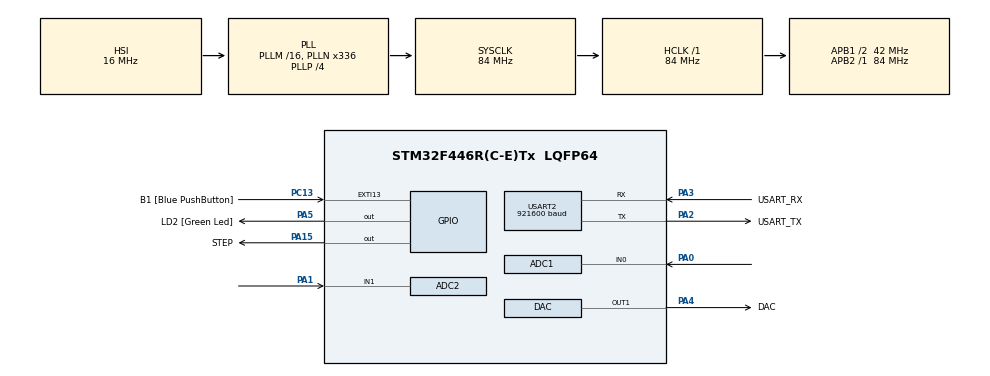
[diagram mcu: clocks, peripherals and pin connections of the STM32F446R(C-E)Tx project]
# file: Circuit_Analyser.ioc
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ADC1.Channel-0\#ChannelRegularConversion=ADC_CHANNEL_0
ADC1.ContinuousConvMode=DISABLE
ADC1.DMAContinuousRequests=ENABLE
ADC1.ExternalTrigConv=ADC_EXTERNALTRIGCONV_T2_TRGO
ADC1.NbrOfConversion=1
ADC1.NbrOfConversionFlag=1
ADC1.Rank-0\#ChannelRegularConversion=1
ADC1.SamplingTime-0\#ChannelRegularConversion=ADC_SAMPLETIME_480CYCLES
ADC1.master=1
ADC2.Channel-0\#ChannelRegularConversion=ADC_CHANNEL_1
ADC2.DMAContinuousRequests=ENABLE
ADC2.ExternalTrigConv=ADC_EXTERNALTRIGCONV_T8_TRGO
ADC2.NbrOfConversionFlag=1
ADC2.Rank-0\#ChannelRegularConversion=1
ADC2.SamplingTime-0\#ChannelRegularConversion=ADC_SAMPLETIME_144CYCLES
DAC.DAC_Trigger=DAC_TRIGGER_T8_TRGO
Dma.ADC1.0.Direction=DMA_PERIPH_TO_MEMORY
Dma.ADC1.0.FIFOMode=DMA_FIFOMODE_DISABLE
Dma.ADC1.0.Instance=DMA2_Stream0
Dma.ADC1.0.MemDataAlignment=DMA_MDATAALIGN_HALFWORD
Dma.ADC1.0.MemInc=DMA_MINC_ENABLE
Dma.ADC1.0.Mode=DMA_NORMAL
Dma.ADC1.0.PeriphDataAlignment=DMA_PDATAALIGN_HALFWORD
Dma.ADC1.0.PeriphInc=DMA_PINC_DISABLE
Dma.ADC1.0.Priority=DMA_PRIORITY_LOW
Dma.ADC2.2.Direction=DMA_PERIPH_TO_MEMORY
Dma.ADC2.2.FIFOMode=DMA_FIFOMODE_DISABLE
Dma.ADC2.2.Instance=DMA2_Stream2
Dma.ADC2.2.MemDataAlignment=DMA_MDATAALIGN_HALFWORD
Dma.ADC2.2.MemInc=DMA_MINC_ENABLE
Dma.ADC2.2.Mode=DMA_CIRCULAR
Dma.ADC2.2.PeriphDataAlignment=DMA_PDATAALIGN_HALFWORD
Dma.ADC2.2.PeriphInc=DMA_PINC_DISABLE
Dma.ADC2.2.Priority=DMA_PRIORITY_LOW
Dma.DAC1.1.Direction=DMA_MEMORY_TO_PERIPH
Dma.DAC1.1.FIFOMode=DMA_FIFOMODE_DISABLE
Dma.DAC1.1.Instance=DMA1_Stream5
Dma.DAC1.1.MemDataAlignment=DMA_MDATAALIGN_HALFWORD
Dma.DAC1.1.MemInc=DMA_MINC_ENABLE
Dma.DAC1.1.Mode=DMA_CIRCULAR
Dma.DAC1.1.PeriphDataAlignment=DMA_PDATAALIGN_HALFWORD
Dma.DAC1.1.PeriphInc=DMA_PINC_DISABLE
Dma.DAC1.1.Priority=DMA_PRIORITY_LOW
Dma.Request0=ADC1
Dma.Request1=DAC1
Dma.Request2=ADC2
Dma.Request3=USART2_TX
Dma.USART2_TX.3.Direction=DMA_MEMORY_TO_PERIPH
Dma.USART2_TX.3.FIFOMode=DMA_FIFOMODE_DISABLE
Dma.USART2_TX.3.Instance=DMA1_Stream6
Dma.USART2_TX.3.MemDataAlignment=DMA_MDATAALIGN_BYTE
Dma.USART2_TX.3.MemInc=DMA_MINC_ENABLE
Dma.USART2_TX.3.Mode=DMA_NORMAL
Dma.USART2_TX.3.PeriphDataAlignment=DMA_PDATAALIGN_BYTE
Dma.USART2_TX.3.PeriphInc=DMA_PINC_DISABLE
Dma.USART2_TX.3.Priority=DMA_PRIORITY_HIGH
Mcu.Family=STM32F4
Mcu.Name=STM32F446R(C-E)Tx
Mcu.Package=LQFP64
NVIC.DMA1_Stream5_IRQn=true\:3\:0\:true\:false\:true\:false\:true\:true
NVIC.DMA1_Stream6_IRQn=true\:1\:0\:true\:false\:true\:false\:true\:true
NVIC.DMA2_Stream0_IRQn=true\:2\:0\:true\:false\:true\:false\:true\:true
NVIC.DMA2_Stream2_IRQn=true\:2\:0\:true\:false\:true\:false\:true\:true
NVIC.PriorityGroup=NVIC_PRIORITYGROUP_2
NVIC.USART2_IRQn=true\:0\:0\:true\:false\:true\:true\:true\:true
PA0-WKUP.Signal=ADCx_IN0
PA1.Signal=ADCx_IN1
PA13.GPIO_Label=TMS
PA13.Mode=Serial_Wire
PA13.Signal=SYS_JTMS-SWDIO
PA14.GPIO_Label=TCK
PA14.Mode=Serial_Wire
PA14.Signal=SYS_JTCK-SWCLK
PA15.GPIO_Label=STEP
PA15.Signal=GPIO_Output
PA2.GPIO_Label=USART_TX
PA2.Mode=Asynchronous
PA2.Signal=USART2_TX
PA3.GPIO_Label=USART_RX
PA3.Mode=Asynchronous
PA3.Signal=USART2_RX
PA4.GPIO_Label=DAC
PA4.Signal=COMP_DAC1_group
PA5.GPIO_Label=LD2 [Green Led]
PA5.Signal=GPIO_Output
PB3.GPIO_Label=SWO
PB3.Signal=SYS_JTDO-SWO
PC13.GPIO_Label=B1 [Blue PushButton]
PC13.GPIO_ModeDefaultEXTI=GPIO_MODE_IT_FALLING
PC13.Signal=GPXTI13
PC14-OSC32_IN.Mode=LSE-External-Oscillator
PC14-OSC32_IN.Signal=RCC_OSC32_IN
PC15-OSC32_OUT.Mode=LSE-External-Oscillator
PC15-OSC32_OUT.Signal=RCC_OSC32_OUT
PH0-OSC_IN.Mode=HSE-External-Oscillator
PH0-OSC_IN.Signal=RCC_OSC_IN
PH1-OSC_OUT.Mode=HSE-External-Oscillator
PH1-OSC_OUT.Signal=RCC_OSC_OUT
ProjectManager.HeapSize=0x200
ProjectManager.StackSize=0x400
ProjectManager.TargetToolchain=STM32CubeIDE
RCC.48MHZClocksFreq_Value=84000000
RCC.AHBFreq_Value=84000000
RCC.APB1CLKDivider=RCC_HCLK_DIV2
RCC.APB1Freq_Value=42000000
RCC.APB1TimFreq_Value=84000000
RCC.APB2Freq_Value=84000000
RCC.APB2TimFreq_Value=84000000
RCC.CortexFreq_Value=84000000
RCC.FLatency-AdvancedSettings=FLASH_LATENCY_2
RCC.HCLKFreq_Value=84000000
RCC.HSE_VALUE=8000000
RCC.HSI_VALUE=16000000
RCC.PLLN=336
RCC.PLLP=RCC_PLLP_DIV4
RCC.SYSCLKFreq_VALUE=84000000
RCC.SYSCLKSource=RCC_SYSCLKSOURCE_PLLCLK
RCC.USBFreq_Value=168000000
RCC.VCOOutputFreq_Value=336000000
SH.ADCx_IN0.0=ADC1_IN0,IN0
SH.ADCx_IN1.0=ADC2_IN1,IN1
SH.COMP_DAC1_group.0=DAC_OUT1,DAC_OUT1
TIM2.Period=99
TIM2.Prescaler=83
TIM2.TIM_MasterOutputTrigger=TIM_TRGO_UPDATE
TIM8.Period=8399
TIM8.Prescaler=0
TIM8.TIM_MasterOutputTrigger=TIM_TRGO_UPDATE
USART2.BaudRate=921600
USART2.VirtualMode=VM_ASYNC
VP_TIM2_VS_ClockSourceINT.Mode=Internal
VP_TIM8_VS_ClockSourceINT.Mode=Internal
board=NUCLEO-F446RE

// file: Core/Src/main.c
/* USER CODE BEGIN Header */
/**
  ******************************************************************************
  * @file           : main.c
  * @brief          : Main program body
  ******************************************************************************
  * @attention
  *
  * Copyright (c) 2025 STMicroelectronics.
  * All rights reserved.
  *
  * This software is licensed under terms that can be found in the LICENSE file
  * in the root directory of this software component.
  * If no LICENSE file comes with this software, it is provided AS-IS.
  *
  ******************************************************************************
  */
/* USER CODE END Header */
#include "main.h"

/* USER CODE BEGIN Includes */
#include <math.h>
#include <stdio.h>
#include <string.h>
#include <stdlib.h>

/* USER CODE END Includes */

/* USER CODE BEGIN PTD */
typedef enum {
    MODE_IDLE,
    MODE_STEP_LAUNCH,
    MODE_WAVE_LAUNCH,
	MODE_STEP_RUNNING,
	MODE_FREQ_RUNNING
} SystemState_t;

/* USER CODE END PTD */

/* USER CODE BEGIN PD */
#define STEP_SAMPLES 2000
#define LUT_SAMPLES 1000
// Received command buffer size
#define RX_BUFFER_SIZE 32
// Binary protocol mode headers
#define BIN_HEADER_1 0xAA
#define BIN_HEADER_2 0xBB
#define BIN_MODE_STEP 0x01
#define BIN_MODE_FREQ 0x02

// Board timers frequency
#define MCU_TIMER_CLOCK_FREQ 84000000

// Transmission variables (ping-pong buffer)
#define CHUNK_SIZE (2*LUT_SAMPLES)
#define TOTAL_BUFFER_SIZE (2*CHUNK_SIZE)

/* USER CODE END PD */

ADC_HandleTypeDef hadc1;
ADC_HandleTypeDef hadc2;
DMA_HandleTypeDef hdma_adc1;
DMA_HandleTypeDef hdma_adc2;

DAC_HandleTypeDef hdac;
DMA_HandleTypeDef hdma_dac1;

TIM_HandleTypeDef htim2;
TIM_HandleTypeDef htim8;

UART_HandleTypeDef huart2;
DMA_HandleTypeDef hdma_usart2_tx;

/* USER CODE BEGIN PV */
volatile uint16_t ADC_buffer[TOTAL_BUFFER_SIZE];
uint16_t DAC_Sine[LUT_SAMPLES];
uint16_t DAC_Saw[LUT_SAMPLES];
uint16_t* current_waveform_ptr = DAC_Sine;

// System state initialization
SystemState_t current_state = MODE_IDLE;

// UART command reception variables
uint8_t rx_byte;              	// current byte
char rx_buffer[RX_BUFFER_SIZE]; // complete command buffer
uint8_t rx_index = 0;			// current byte index

// UART data transmission header
const uint8_t header_seq[2] = {BIN_HEADER_1, BIN_HEADER_2};

/* USER CODE END PV */

void SystemClock_Config(void);
static void MX_GPIO_Init(void);
static void MX_DMA_Init(void);
static void MX_USART2_UART_Init(void);
static void MX_ADC1_Init(void);
static void MX_TIM2_Init(void);
static void MX_DAC_Init(void);
static void MX_ADC2_Init(void);
static void MX_TIM8_Init(void);

int main(void)
{

  /* MCU Configuration--------------------------------------------------------*/

  /* Reset of all peripherals, Initializes the Flash interface and the Systick. */
  HAL_Init();

  /* Configure the system clock */
  SystemClock_Config();

  /* Initialize all configured peripherals */
  MX_GPIO_Init();
  MX_DMA_Init();
  MX_USART2_UART_Init();
  MX_ADC1_Init();
  MX_TIM2_Init();
  MX_DAC_Init();
  MX_ADC2_Init();
  MX_TIM8_Init();
  /* USER CODE BEGIN 2 */

  // Create one sine period LookUpTable
  for (int i = 0; i < LUT_SAMPLES; i++){
	  DAC_Sine[i] = (uint16_t)((4095.0f/2.0f) * (1.0f + sin(2.0f*M_PI*i/LUT_SAMPLES)));
  }

  // Create Sawtooth LookUpTable
  for(int i = 0; i < LUT_SAMPLES; i++){
	  DAC_Saw[i] = (uint16_t)(4095.0f/(LUT_SAMPLES-1)*i);
  }

  // Trigger connection with the user
  HAL_UART_Receive_IT(&huart2, &rx_byte, 1);

  /* USER CODE END 2 */

  /* Infinite loop */
  /* USER CODE BEGIN WHILE */
  while (1)
  {
	  // Start step response routine
	  if (current_state == MODE_STEP_LAUNCH)stepResponse();

	  // Start frequency analysis routine
	  if (current_state == MODE_WAVE_LAUNCH)waveformResponse();

    /* USER CODE END WHILE */

  }
}

void SystemClock_Config(void)
{
  RCC_OscInitTypeDef RCC_OscInitStruct = {0};
  RCC_ClkInitTypeDef RCC_ClkInitStruct = {0};

  /** Configure the main internal regulator output voltage
  */
  __HAL_RCC_PWR_CLK_ENABLE();
  __HAL_PWR_VOLTAGESCALING_CONFIG(PWR_REGULATOR_VOLTAGE_SCALE3);

  /** Initializes the RCC Oscillators according to the specified parameters
  * in the RCC_OscInitTypeDef structure.
  */
  RCC_OscInitStruct.OscillatorType = RCC_OSCILLATORTYPE_HSI;
  RCC_OscInitStruct.HSIState = RCC_HSI_ON;
  RCC_OscInitStruct.HSICalibrationValue = RCC_HSICALIBRATION_DEFAULT;
  RCC_OscInitStruct.PLL.PLLState = RCC_PLL_ON;
  RCC_OscInitStruct.PLL.PLLSource = RCC_PLLSOURCE_HSI;
  RCC_OscInitStruct.PLL.PLLM = 16;
  RCC_OscInitStruct.PLL.PLLN = 336;
  RCC_OscInitStruct.PLL.PLLP = RCC_PLLP_DIV4;
  RCC_OscInitStruct.PLL.PLLQ = 2;
  RCC_OscInitStruct.PLL.PLLR = 2;
  if (HAL_RCC_OscConfig(&RCC_OscInitStruct) != HAL_OK)
  {
    Error_Handler();
  }

  /** Initializes the CPU, AHB and APB buses clocks
  */
  RCC_ClkInitStruct.ClockType = RCC_CLOCKTYPE_HCLK|RCC_CLOCKTYPE_SYSCLK
                              |RCC_CLOCKTYPE_PCLK1|RCC_CLOCKTYPE_PCLK2;
  RCC_ClkInitStruct.SYSCLKSource = RCC_SYSCLKSOURCE_PLLCLK;
  RCC_ClkInitStruct.AHBCLKDivider = RCC_SYSCLK_DIV1;
  RCC_ClkInitStruct.APB1CLKDivider = RCC_HCLK_DIV2;
  RCC_ClkInitStruct.APB2CLKDivider = RCC_HCLK_DIV1;

  if (HAL_RCC_ClockConfig(&RCC_ClkInitStruct, FLASH_LATENCY_2) != HAL_OK)
  {
    Error_Handler();
  }
}

static void MX_ADC1_Init(void)
{

  ADC_ChannelConfTypeDef sConfig = {0};

  /** Configure the global features of the ADC (Clock, Resolution, Data Alignment and number of conversion)
  */
  hadc1.Instance = ADC1;
  hadc1.Init.ClockPrescaler = ADC_CLOCK_SYNC_PCLK_DIV4;
  hadc1.Init.Resolution = ADC_RESOLUTION_12B;
  hadc1.Init.ScanConvMode = DISABLE;
  hadc1.Init.ContinuousConvMode = DISABLE;
  hadc1.Init.DiscontinuousConvMode = DISABLE;
  hadc1.Init.ExternalTrigConvEdge = ADC_EXTERNALTRIGCONVEDGE_RISING;
  hadc1.Init.ExternalTrigConv = ADC_EXTERNALTRIGCONV_T2_TRGO;
  hadc1.Init.DataAlign = ADC_DATAALIGN_RIGHT;
  hadc1.Init.NbrOfConversion = 1;
  hadc1.Init.DMAContinuousRequests = ENABLE;
  hadc1.Init.EOCSelection = ADC_EOC_SINGLE_CONV;
  if (HAL_ADC_Init(&hadc1) != HAL_OK)
  {
    Error_Handler();
  }

  /** Configure for the selected ADC regular channel its corresponding rank in the sequencer and its sample time.
  */
  sConfig.Channel = ADC_CHANNEL_0;
  sConfig.Rank = 1;
  sConfig.SamplingTime = ADC_SAMPLETIME_480CYCLES;
  if (HAL_ADC_ConfigChannel(&hadc1, &sConfig) != HAL_OK)
  {
    Error_Handler();
  }

}

static void MX_ADC2_Init(void)
{

  ADC_ChannelConfTypeDef sConfig = {0};

  /** Configure the global features of the ADC (Clock, Resolution, Data Alignment and number of conversion)
  */
  hadc2.Instance = ADC2;
  hadc2.Init.ClockPrescaler = ADC_CLOCK_SYNC_PCLK_DIV4;
  hadc2.Init.Resolution = ADC_RESOLUTION_12B;
  hadc2.Init.ScanConvMode = DISABLE;
  hadc2.Init.ContinuousConvMode = DISABLE;
  hadc2.Init.DiscontinuousConvMode = DISABLE;
  hadc2.Init.ExternalTrigConvEdge = ADC_EXTERNALTRIGCONVEDGE_RISING;
  hadc2.Init.ExternalTrigConv = ADC_EXTERNALTRIGCONV_T8_TRGO;
  hadc2.Init.DataAlign = ADC_DATAALIGN_RIGHT;
  hadc2.Init.NbrOfConversion = 1;
  hadc2.Init.DMAContinuousRequests = ENABLE;
  hadc2.Init.EOCSelection = ADC_EOC_SINGLE_CONV;
  if (HAL_ADC_Init(&hadc2) != HAL_OK)
  {
    Error_Handler();
  }

  /** Configure for the selected ADC regular channel its corresponding rank in the sequencer and its sample time.
  */
  sConfig.Channel = ADC_CHANNEL_1;
  sConfig.Rank = 1;
  sConfig.SamplingTime = ADC_SAMPLETIME_144CYCLES;
  if (HAL_ADC_ConfigChannel(&hadc2, &sConfig) != HAL_OK)
  {
    Error_Handler();
  }

}

static void MX_DAC_Init(void)
{

  DAC_ChannelConfTypeDef sConfig = {0};

  /** DAC Initialization
  */
  hdac.Instance = DAC;
  if (HAL_DAC_Init(&hdac) != HAL_OK)
  {
    Error_Handler();
  }

  /** DAC channel OUT1 config
  */
  sConfig.DAC_Trigger = DAC_TRIGGER_T8_TRGO;
  sConfig.DAC_OutputBuffer = DAC_OUTPUTBUFFER_ENABLE;
  if (HAL_DAC_ConfigChannel(&hdac, &sConfig, DAC_CHANNEL_1) != HAL_OK)
  {
    Error_Handler();
  }

}

static void MX_TIM2_Init(void)
{

  TIM_ClockConfigTypeDef sClockSourceConfig = {0};
  TIM_MasterConfigTypeDef sMasterConfig = {0};

  htim2.Instance = TIM2;
  htim2.Init.Prescaler = 83;
  htim2.Init.CounterMode = TIM_COUNTERMODE_UP;
  htim2.Init.Period = 99;
  htim2.Init.ClockDivision = TIM_CLOCKDIVISION_DIV1;
  htim2.Init.AutoReloadPreload = TIM_AUTORELOAD_PRELOAD_DISABLE;
  if (HAL_TIM_Base_Init(&htim2) != HAL_OK)
  {
    Error_Handler();
  }
  sClockSourceConfig.ClockSource = TIM_CLOCKSOURCE_INTERNAL;
  if (HAL_TIM_ConfigClockSource(&htim2, &sClockSourceConfig) != HAL_OK)
  {
    Error_Handler();
  }
  sMasterConfig.MasterOutputTrigger = TIM_TRGO_UPDATE;
  sMasterConfig.MasterSlaveMode = TIM_MASTERSLAVEMODE_DISABLE;
  if (HAL_TIMEx_MasterConfigSynchronization(&htim2, &sMasterConfig) != HAL_OK)
  {
    Error_Handler();
  }

}

static void MX_TIM8_Init(void)
{

  TIM_ClockConfigTypeDef sClockSourceConfig = {0};
  TIM_MasterConfigTypeDef sMasterConfig = {0};

  htim8.Instance = TIM8;
  htim8.Init.Prescaler = 0;
  htim8.Init.CounterMode = TIM_COUNTERMODE_UP;
  htim8.Init.Period = 8399;
  htim8.Init.ClockDivision = TIM_CLOCKDIVISION_DIV1;
  htim8.Init.RepetitionCounter = 0;
  htim8.Init.AutoReloadPreload = TIM_AUTORELOAD_PRELOAD_DISABLE;
  if (HAL_TIM_Base_Init(&htim8) != HAL_OK)
  {
    Error_Handler();
  }
  sClockSourceConfig.ClockSource = TIM_CLOCKSOURCE_INTERNAL;
  if (HAL_TIM_ConfigClockSource(&htim8, &sClockSourceConfig) != HAL_OK)
  {
    Error_Handler();
  }
  sMasterConfig.MasterOutputTrigger = TIM_TRGO_UPDATE;
  sMasterConfig.MasterSlaveMode = TIM_MASTERSLAVEMODE_DISABLE;
  if (HAL_TIMEx_MasterConfigSynchronization(&htim8, &sMasterConfig) != HAL_OK)
  {
    Error_Handler();
  }

}

static void MX_USART2_UART_Init(void)
{

  huart2.Instance = USART2;
  huart2.Init.BaudRate = 921600;
  huart2.Init.WordLength = UART_WORDLENGTH_8B;
  huart2.Init.StopBits = UART_STOPBITS_1;
  huart2.Init.Parity = UART_PARITY_NONE;
  huart2.Init.Mode = UART_MODE_TX_RX;
  huart2.Init.HwFlowCtl = UART_HWCONTROL_NONE;
  huart2.Init.OverSampling = UART_OVERSAMPLING_16;
  if (HAL_UART_Init(&huart2) != HAL_OK)
  {
    Error_Handler();
  }

}

static void MX_DMA_Init(void)
{

  /* DMA controller clock enable */
  __HAL_RCC_DMA2_CLK_ENABLE();
  __HAL_RCC_DMA1_CLK_ENABLE();

  /* DMA interrupt init */
  /* DMA1_Stream5_IRQn interrupt configuration */
  HAL_NVIC_SetPriority(DMA1_Stream5_IRQn, 3, 0);
  HAL_NVIC_EnableIRQ(DMA1_Stream5_IRQn);
  /* DMA1_Stream6_IRQn interrupt configuration */
  HAL_NVIC_SetPriority(DMA1_Stream6_IRQn, 1, 0);
  HAL_NVIC_EnableIRQ(DMA1_Stream6_IRQn);
  /* DMA2_Stream0_IRQn interrupt configuration */
  HAL_NVIC_SetPriority(DMA2_Stream0_IRQn, 2, 0);
  HAL_NVIC_EnableIRQ(DMA2_Stream0_IRQn);
  /* DMA2_Stream2_IRQn interrupt configuration */
  HAL_NVIC_SetPriority(DMA2_Stream2_IRQn, 2, 0);
  HAL_NVIC_EnableIRQ(DMA2_Stream2_IRQn);

}

static void MX_GPIO_Init(void)
{
  GPIO_InitTypeDef GPIO_InitStruct = {0};

  /* GPIO Ports Clock Enable */
  __HAL_RCC_GPIOC_CLK_ENABLE();
  __HAL_RCC_GPIOH_CLK_ENABLE();
  __HAL_RCC_GPIOA_CLK_ENABLE();
  __HAL_RCC_GPIOB_CLK_ENABLE();

  /*Configure GPIO pin Output Level */
  HAL_GPIO_WritePin(GPIOA, LD2_Pin|STEP_Pin, GPIO_PIN_RESET);

  /*Configure GPIO pin : B1_Pin */
  GPIO_InitStruct.Pin = B1_Pin;
  GPIO_InitStruct.Mode = GPIO_MODE_IT_FALLING;
  GPIO_InitStruct.Pull = GPIO_NOPULL;
  HAL_GPIO_Init(B1_GPIO_Port, &GPIO_InitStruct);

  /*Configure GPIO pins : LD2_Pin STEP_Pin */
  GPIO_InitStruct.Pin = LD2_Pin|STEP_Pin;
  GPIO_InitStruct.Mode = GPIO_MODE_OUTPUT_PP;
  GPIO_InitStruct.Pull = GPIO_NOPULL;
  GPIO_InitStruct.Speed = GPIO_SPEED_FREQ_LOW;
  HAL_GPIO_Init(GPIOA, &GPIO_InitStruct);

}

/* USER CODE BEGIN 4 */

/*
 * The ADC conversion complete callback is called when the whole ADC buffer has
 * been filled with conversions.
 * For the step response, which is a one shot event, the code in this callback
 * reasonably stops the conversion and sends the whole buffer to the PC.
 * For the frequency response, this callback handles the 'PONG' part of the buffer
 * transmission, sending the second half of the ADC conversion buffer, without
 * interrupting the conversion, as we want to continuously measure voltage.
*/
void HAL_ADC_ConvCpltCallback(ADC_HandleTypeDef* hadc)
{
	if (current_state == MODE_IDLE) return;

    // Handles STEP, measured on ADC1
    if (hadc->Instance == ADC1)
    {
        // Stop conversion (One-Shot)
        HAL_TIM_Base_Stop(&htim2);
        HAL_ADC_Stop_DMA(&hadc1);

        // Send the measurements
        sendData(&ADC_buffer[0], STEP_SAMPLES, BIN_MODE_STEP);

        // Reset system state
        current_state = MODE_IDLE;
    }

    // Handles frequency response, measured on ADC2
    if (hadc->Instance == ADC2)
    {
        // Send only the second part of the buffer, without stopping the conversion
        sendData(&ADC_buffer[TOTAL_BUFFER_SIZE/2], TOTAL_BUFFER_SIZE/2, BIN_MODE_FREQ);
    }
}

/*
 * This callback handles the 'PING' part of the buffer transmission, sending the
 * first half of the ADC conversion buffer, without  interrupting the conversion,
 * as we want to continuously measure voltage.
 */
void HAL_ADC_ConvHalfCpltCallback(ADC_HandleTypeDef* hadc)
{
    if (hadc->Instance == ADC2)
    {
    	// Send only the first part of the buffer, without stopping the conversion
        sendData(&ADC_buffer[0], TOTAL_BUFFER_SIZE/2, BIN_MODE_FREQ);
    }
}

/*
 * This callback handles the command reception. Every received byte is stored in an array,
 * when a line terminator is received, the whole command, stored in the array is parsed and
 * the system state is updated accordingly
 */
void HAL_UART_RxCpltCallback(UART_HandleTypeDef *huart)
{
	if(huart->Instance == USART2){

		// Check if a line terminator has been sent, indicating a complete command
		if (rx_byte == '\n' || rx_byte == '\r'){
			// Close the string with the null terminator
			rx_buffer[rx_index] = '\0';

			if (rx_buffer[0] == 'S'){
				current_state = MODE_STEP_LAUNCH;
			}

			if (rx_buffer[0] == 'F'){
				// Extract the numerical values from the buffer, stopping at the terminator "\n"
				int freq_val = atoi(&rx_buffer[1]);
				changeFreq(freq_val);
				current_waveform_ptr = DAC_Sine;
				current_state = MODE_WAVE_LAUNCH;
			}
			if(rx_buffer[0] == 'T'){
				int freq_val = atoi(&rx_buffer[1]);
				changeFreq(freq_val);
				current_waveform_ptr = DAC_Saw;
				current_state = MODE_WAVE_LAUNCH;
			}

			if (rx_buffer[0] == 'A'){
				// Reset system state
				current_state = MODE_IDLE;

				// Stop everything
				HAL_TIM_Base_Stop(&htim2);
				HAL_TIM_Base_Stop(&htim8);
				HAL_ADC_Stop_DMA(&hadc1);
				setPinMode(STEP_GPIO_Port, STEP_Pin, GPIO_MODE_INPUT);
				HAL_ADC_Stop_DMA(&hadc2);
				HAL_DAC_Stop_DMA(&hdac, DAC_CHANNEL_1);
				setPinMode(DAC_GPIO_Port, DAC_Pin, GPIO_MODE_INPUT);

			}
			rx_index = 0;
		}
		else{
			// Buffer overflow protection
			if (rx_index < RX_BUFFER_SIZE){
				rx_buffer[rx_index] = rx_byte;
				rx_index++;
			}
		}
		HAL_UART_Receive_IT(&huart2, &rx_byte, 1);
	}
}

void stepResponse(void)
{
	// Update state
	current_state = MODE_STEP_RUNNING;

	// Configure the DAC pin to analog input to avoid short circuits
	setPinMode(DAC_GPIO_Port, DAC_Pin, GPIO_MODE_INPUT);

	// Configure the step pin to digital output in order to produce the step signal
	setPinMode(STEP_GPIO_Port, STEP_Pin, GPIO_MODE_OUTPUT_PP);

	// Wait to ensure the capacitor is fully discharged
	HAL_GPIO_WritePin(GPIOA, GPIO_PIN_15, GPIO_PIN_RESET);
	HAL_Delay(500);

	// Start DMA ADC conversion, still waiting for the timer trigger
	HAL_ADC_Start_DMA(&hadc1, (uint32_t*)ADC_buffer, STEP_SAMPLES);

	// Start the timer that triggers the ADC conversion
	HAL_TIM_Base_Start(&htim2);

	// Send a voltage step to the circuit
	HAL_GPIO_WritePin(GPIOA, GPIO_PIN_15, GPIO_PIN_SET);
}

void waveformResponse(void)
{
	// Update state
	current_state = MODE_FREQ_RUNNING;

	// Configure the step pin to analog input to avoid short circuits
	setPinMode(STEP_GPIO_Port, STEP_Pin, GPIO_MODE_INPUT);

	// Configure the DAC pin to analog output in order to produce the sine signal
	setPinMode(DAC_GPIO_Port, DAC_Pin, GPIO_MODE_ANALOG);

	// Start DMA DAC, still waiting for the timer trigger
	HAL_DAC_Start_DMA(&hdac, DAC_CHANNEL_1, (uint32_t*) current_waveform_ptr, LUT_SAMPLES, DAC_ALIGN_12B_R);

	// Start DMA ADC conversion, still waiting for the timer trigger
	HAL_ADC_Start_DMA(&hadc2, (uint32_t*)ADC_buffer, TOTAL_BUFFER_SIZE);

	// Start the timer that triggers the ADC and DAC
	HAL_TIM_Base_Start(&htim8);
}

void sendData(volatile uint16_t* buffer, uint16_t buffer_length, uint8_t mode)
{
    // Check if the UART is idle, otherwise skip
    if (huart2.gState != HAL_UART_STATE_READY) return;

    // Send chunk header + mode header
    HAL_UART_Transmit(&huart2, (uint8_t*)header_seq, 2, 1);
    HAL_UART_Transmit(&huart2, &mode, 1, 1);

    // Send ADC data through DMA
    HAL_UART_Transmit_DMA(&huart2, (uint8_t*)buffer, buffer_length * 2);
}

/*
 *  Wrapper function used to switch pins configuration mode
 */
void setPinMode(GPIO_TypeDef* GPIOx, uint16_t GPIO_Pin, uint32_t Mode)
{
    GPIO_InitTypeDef GPIO_InitStruct = {0};

    GPIO_InitStruct.Pin = GPIO_Pin;
    GPIO_InitStruct.Mode = Mode;
    GPIO_InitStruct.Pull = GPIO_NOPULL;
    GPIO_InitStruct.Speed = GPIO_SPEED_FREQ_LOW;

    HAL_GPIO_Init(GPIOx, &GPIO_InitStruct);
}

/*
 * Wrapper function used to change waveforms
 */
void changeFreq(uint16_t sine_freq)
{
	// Avoid too high, null or negative frequencies
	if (sine_freq > 2 && sine_freq <= 200){

		uint16_t new_ARR = (uint16_t) ((MCU_TIMER_CLOCK_FREQ / ((uint32_t)sine_freq*LUT_SAMPLES)) - 1);
		__HAL_TIM_SET_AUTORELOAD(&htim8, new_ARR);
		htim8.Instance->EGR = TIM_EGR_UG;
	}

}

/* USER CODE END 4 */

void Error_Handler(void)
{
  __disable_irq();
  while (1)
  {
  }
}
